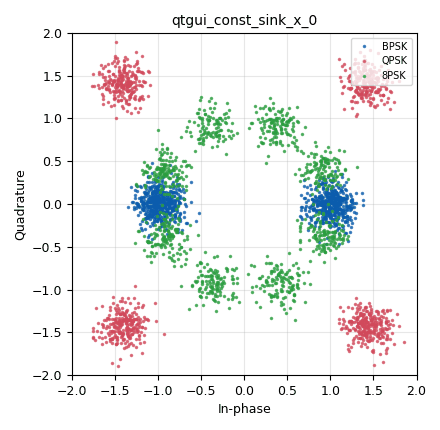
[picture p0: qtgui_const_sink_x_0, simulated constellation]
options:
  parameters:
    author: informatica
    generate_options: qt_gui
    id: untitled
    output_language: python
    title: Not titled yet
  states: {}

blocks:
- name: noise_amp
  id: variable_qtgui_range
  parameters:
    start: '0.01'
    step: '0.01'
    stop: '1'
    value: '0.1993'
    widget: eng_slider
  states: {}
- name: noise_amp1
  id: variable
  parameters:
    value: '1'
  states: {}
- name: samp_rate
  id: variable
  parameters:
    value: '32000'
  states: {}
- name: variable_constellation_1
  id: variable_constellation
  parameters:
    precision: '8'
    type: bpsk
  states: {}
- name: variable_constellation_2
  id: variable_constellation
  parameters:
    precision: '8'
    type: qpsk
  states: {}
- name: variable_constellation_3
  id: variable_constellation
  parameters:
    precision: '8'
    type: 8psk
  states: {}
- name: analog_noise_source_x_0
  id: analog_noise_source_x
  parameters:
    amp: noise_amp
    noise_type: analog.GR_GAUSSIAN
    seed: '0'
    type: complex
  states: {}
- name: analog_noise_source_x_0_0
  id: analog_noise_source_x
  parameters:
    amp: noise_amp
    noise_type: analog.GR_GAUSSIAN
    seed: '0'
    type: complex
  states: {}
- name: analog_noise_source_x_0_1
  id: analog_noise_source_x
  parameters:
    amp: noise_amp
    noise_type: analog.GR_GAUSSIAN
    seed: '0'
    type: complex
  states: {}
- name: analog_random_source_x_0
  id: analog_random_source_x
  parameters:
    max: '2'
    min: '0'
    num_samps: '10000'
    repeat: 'True'
    type: byte
  states: {}
- name: analog_random_source_x_0_0
  id: analog_random_source_x
  parameters:
    max: '8'
    min: '0'
    num_samps: '10000'
    repeat: 'True'
    type: byte
  states: {}
- name: analog_random_source_x_0_1
  id: analog_random_source_x
  parameters:
    max: '4'
    min: '0'
    num_samps: '10000'
    repeat: 'True'
    type: byte
  states: {}
- name: blocks_add_xx_0
  id: blocks_add_xx
  parameters:
    type: complex
  states: {}
- name: blocks_add_xx_0_0
  id: blocks_add_xx
  parameters:
    type: complex
  states: {}
- name: blocks_add_xx_0_1
  id: blocks_add_xx
  parameters:
    type: complex
  states: {}
- name: blocks_pack_k_bits_bb_0
  id: blocks_pack_k_bits_bb
  parameters:
    k: '8'
  states: {}
- name: blocks_pack_k_bits_bb_0_0
  id: blocks_pack_k_bits_bb
  parameters:
    k: '8'
  states: {}
- name: blocks_pack_k_bits_bb_0_1
  id: blocks_pack_k_bits_bb
  parameters:
    k: '8'
  states: {}
- name: blocks_pack_k_bits_bb_1
  id: blocks_pack_k_bits_bb
  parameters:
    k: '8'
  states: {}
- name: blocks_pack_k_bits_bb_1_0
  id: blocks_pack_k_bits_bb
  parameters:
    k: '8'
  states: {}
- name: blocks_pack_k_bits_bb_1_1
  id: blocks_pack_k_bits_bb
  parameters:
    k: '8'
  states: {}
- name: blocks_throttle2_0
  id: blocks_throttle2
  parameters:
    samples_per_second: samp_rate
    type: byte
  states: {}
- name: blocks_throttle2_0_0
  id: blocks_throttle2
  parameters:
    samples_per_second: samp_rate
    type: byte
  states: {}
- name: blocks_throttle2_0_1
  id: blocks_throttle2
  parameters:
    samples_per_second: samp_rate
    type: byte
  states: {}
- name: digital_chunks_to_symbols_xx_0
  id: digital_chunks_to_symbols_xx
  parameters:
    dimension: '1'
    in_type: byte
    out_type: complex
    symbol_table: variable_constellation_1.points()
  states: {}
- name: digital_chunks_to_symbols_xx_0_0
  id: digital_chunks_to_symbols_xx
  parameters:
    dimension: '1'
    in_type: byte
    out_type: complex
    symbol_table: variable_constellation_3.points()
  states: {}
- name: digital_chunks_to_symbols_xx_0_1
  id: digital_chunks_to_symbols_xx
  parameters:
    dimension: '1'
    in_type: byte
    out_type: complex
    symbol_table: variable_constellation_2.points()
  states: {}
- name: digital_constellation_decoder_cb_0
  id: digital_constellation_decoder_cb
  parameters:
    constellation: variable_constellation_2
  states: {}
- name: digital_constellation_decoder_cb_0_0
  id: digital_constellation_decoder_cb
  parameters:
    constellation: variable_constellation_3
  states: {}
- name: digital_constellation_decoder_cb_1
  id: digital_constellation_decoder_cb
  parameters:
    constellation: variable_constellation_1
  states: {}
- name: fec_ber_bf_0
  id: fec_ber_bf
  parameters:
    test_mode: 'False'
  states: {}
- name: fec_ber_bf_0_0
  id: fec_ber_bf
  parameters:
    test_mode: 'False'
  states: {}
- name: fec_ber_bf_0_1
  id: fec_ber_bf
  parameters:
    test_mode: 'False'
  states: {}
- name: qtgui_const_sink_x_0
  id: qtgui_const_sink_x
  parameters:
    label1: BPSK
    label2: QPSK
    label3: 8PSK
    nconnections: '3'
    size: '1024'
    type: complex
  states: {}
- name: qtgui_number_sink_0
  id: qtgui_number_sink
  parameters:
    color1: ("black", "white")
    color2: ("black", "white")
    color3: ("black", "white")
    graph_type: qtgui.NUM_GRAPH_HORIZ
    label1: BPSK
    label2: QPSK
    label3: 8PSK
    max: '0'
    min: '-7'
    nconnections: '3'
    type: float
  states: {}

connections:
- [analog_noise_source_x_0, '0', blocks_add_xx_0_0, '1']
- [analog_noise_source_x_0_0, '0', blocks_add_xx_0_1, '1']
- [analog_noise_source_x_0_1, '0', blocks_add_xx_0, '1']
- [analog_random_source_x_0, '0', blocks_throttle2_0, '0']
- [analog_random_source_x_0_0, '0', blocks_throttle2_0_0, '0']
- [analog_random_source_x_0_1, '0', blocks_throttle2_0_1, '0']
- [blocks_add_xx_0, '0', digital_constellation_decoder_cb_1, '0']
- [blocks_add_xx_0, '0', qtgui_const_sink_x_0, '0']
- [blocks_add_xx_0_0, '0', digital_constellation_decoder_cb_0_0, '0']
- [blocks_add_xx_0_0, '0', qtgui_const_sink_x_0, '2']
- [blocks_add_xx_0_1, '0', digital_constellation_decoder_cb_0, '0']
- [blocks_add_xx_0_1, '0', qtgui_const_sink_x_0, '1']
- [blocks_pack_k_bits_bb_0, '0', fec_ber_bf_0_0, '0']
- [blocks_pack_k_bits_bb_0_0, '0', fec_ber_bf_0_1, '1']
- [blocks_pack_k_bits_bb_0_1, '0', fec_ber_bf_0_1, '0']
- [blocks_pack_k_bits_bb_1, '0', fec_ber_bf_0_0, '1']
- [blocks_pack_k_bits_bb_1_0, '0', fec_ber_bf_0, '1']
- [blocks_pack_k_bits_bb_1_1, '0', fec_ber_bf_0, '0']
- [blocks_throttle2_0, '0', blocks_pack_k_bits_bb_1, '0']
- [blocks_throttle2_0, '0', digital_chunks_to_symbols_xx_0, '0']
- [blocks_throttle2_0_0, '0', blocks_pack_k_bits_bb_0_0, '0']
- [blocks_throttle2_0_0, '0', digital_chunks_to_symbols_xx_0_0, '0']
- [blocks_throttle2_0_1, '0', blocks_pack_k_bits_bb_1_0, '0']
- [blocks_throttle2_0_1, '0', digital_chunks_to_symbols_xx_0_1, '0']
- [digital_chunks_to_symbols_xx_0, '0', blocks_add_xx_0, '0']
- [digital_chunks_to_symbols_xx_0_0, '0', blocks_add_xx_0_0, '0']
- [digital_chunks_to_symbols_xx_0_1, '0', blocks_add_xx_0_1, '0']
- [digital_constellation_decoder_cb_0, '0', blocks_pack_k_bits_bb_1_1, '0']
- [digital_constellation_decoder_cb_0_0, '0', blocks_pack_k_bits_bb_0_1, '0']
- [digital_constellation_decoder_cb_1, '0', blocks_pack_k_bits_bb_0, '0']
- [fec_ber_bf_0, '0', qtgui_number_sink_0, '1']
- [fec_ber_bf_0_0, '0', qtgui_number_sink_0, '0']
- [fec_ber_bf_0_1, '0', qtgui_number_sink_0, '2']

metadata:
  file_format: 1
  grc_version: 3.10.9.2
